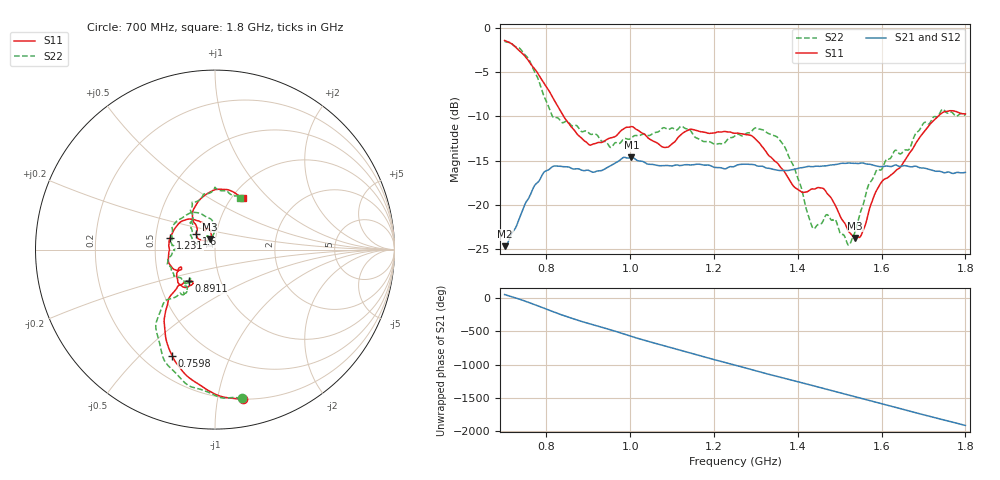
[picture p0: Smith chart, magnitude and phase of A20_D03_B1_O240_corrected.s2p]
! Created with skrf 1.9.0 (http://scikit-rf.org).
# Hz S RI R 50.0
!freq ReS11 ImS11 ReS21 ImS21 ReS12 ImS12 ReS22 ImS22
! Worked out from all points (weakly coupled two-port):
!   1601 points, 700 MHz to 1.8 GHz, reference 50 ohm
!   highest |S21| = -14.61 dB at 1.002 GHz (marker M1); lowest = -24.6 dB at 701.4 MHz (marker M2)
!   lowest |S11| = -23.7 dB at 1.537 GHz (marker M3), VSWR 1.14, Z = 46.9 + j5.53 ohm
!   |S11| at or under -10 dB: 840.9 MHz to 1.734 GHz (893.3 MHz wide, 69.4 % of centre)
!   |S22| runs from -24.5 to -1.5 dB; largest |S21 - S12| = 0.0035
!   S11 on the Smith chart (normalised r, x): 700 MHz: 0.20, -1.19; 759.8 MHz: 0.32, -0.63; 891.1 MHz: 0.70, -0.26; 1.231 GHz: 0.59, +0.08; 1.6 GHz: 0.80, +0.14; 1.8 GHz: 1.12, +0.72
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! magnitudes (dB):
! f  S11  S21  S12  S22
! 700 MHz  -1.4  -24.6  -24.4  -1.5
! 701.4 MHz  -1.5  -24.6  -24.3  -1.6
! 759.8 MHz  -3.9  -19.0  -18.9  -3.7
! 814.8 MHz  -7.9  -15.7  -15.7  -10.0
! 883.6 MHz  -12.4  -16.1  -16.0  -11.7
! 891.1 MHz  -12.8  -16.1  -16.1  -11.6
! 953 MHz  -12.4  -15.6  -15.6  -13.5
! 1.002 GHz  -11.2  -14.6  -14.7  -12.4
! 1.067 GHz  -13.1  -15.5  -15.5  -11.7
! 1.231 GHz  -11.7  -15.8  -15.8  -12.7
! 1.25 GHz  -11.9  -15.6  -15.5  -12.2
! 1.355 GHz  -15.5  -16.1  -16.0  -12.5
! 1.393 GHz  -18.0  -16.0  -15.9  -16.0
! 1.434 GHz  -18.2  -15.7  -15.6  -22.4
! 1.471 GHz  -18.8  -15.5  -15.6  -21.1
! 1.522 GHz  -23.0  -15.3  -15.3  -24.5
! 1.537 GHz  -23.7  -15.3  -15.3  -23.0
! 1.569 GHz  -20.8  -15.4  -15.4  -17.7
! 1.6 GHz  -17.4  -15.7  -15.6  -16.0
! 1.617 GHz  -16.8  -15.6  -15.6  -14.8
! 1.74 GHz  -9.8  -16.2  -16.2  -9.6
! 1.8 GHz  -9.7  -16.3  -16.3  -9.9
